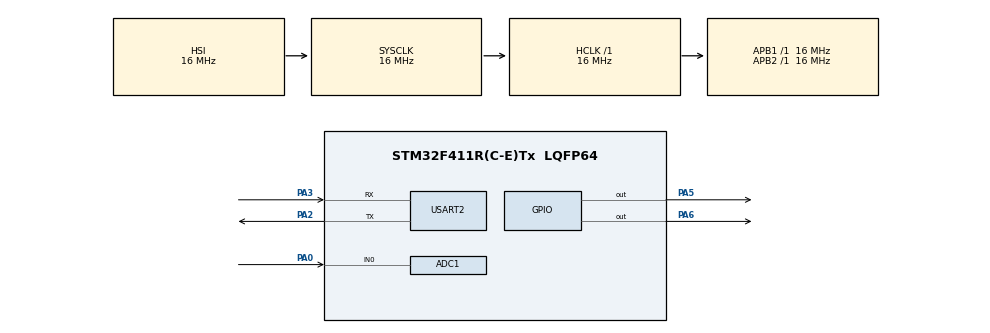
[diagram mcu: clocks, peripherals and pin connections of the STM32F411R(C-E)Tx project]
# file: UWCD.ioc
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ADC1.Channel-0\#ChannelRegularConversion=ADC_CHANNEL_0
ADC1.NbrOfConversionFlag=1
ADC1.Rank-0\#ChannelRegularConversion=1
ADC1.SamplingTime-0\#ChannelRegularConversion=ADC_SAMPLETIME_3CYCLES
ADC1.master=1
Mcu.Family=STM32F4
Mcu.Name=STM32F411R(C-E)Tx
Mcu.Package=LQFP64
NVIC.PriorityGroup=NVIC_PRIORITYGROUP_4
PA0-WKUP.Signal=ADCx_IN0
PA2.Mode=Asynchronous
PA2.Signal=USART2_TX
PA3.Mode=Asynchronous
PA3.Signal=USART2_RX
PA5.Signal=GPIO_Output
PA6.Signal=GPIO_Output
ProjectManager.HeapSize=0x200
ProjectManager.StackSize=0x400
ProjectManager.TargetToolchain=STM32CubeIDE
RCC.48MHZClocksFreq_Value=48000000
RCC.AHBFreq_Value=16000000
RCC.APB1Freq_Value=16000000
RCC.APB2Freq_Value=16000000
RCC.CortexFreq_Value=16000000
RCC.HSE_VALUE=25000000
RCC.HSI_VALUE=16000000
RCC.LSE_VALUE=32768
RCC.SYSCLKFreq_VALUE=16000000
RCC.VCOOutputFreq_Value=192000000
SH.ADCx_IN0.0=ADC1_IN0,IN0
USART2.VirtualMode=VM_ASYNC
board=custom

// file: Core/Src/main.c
/* USER CODE BEGIN Header */
/**
  ******************************************************************************
  * @file           : main.c
  * @brief          : Main program body
  ******************************************************************************
  * @attention
  *
  * Copyright (c) 2025 STMicroelectronics.
  * All rights reserved.
  *
  * This software is licensed under terms that can be found in the LICENSE file
  * in the root directory of this software component.
  * If no LICENSE file comes with this software, it is provided AS-IS.
  *
  ******************************************************************************
  */
/* USER CODE END Header */
#include "main.h"

/* USER CODE BEGIN Includes */
#include <string.h>
#include <stdint.h>
#include "uart_protocol.h"
#include "qpsk_modem.h"
#include "CMD.h"

/* USER CODE END Includes */

/* USER CODE BEGIN PTD */

/*
#define CMD_QPSK_MOD_DEMOD 0x1010
#define CMD_QPSK_RESULT    0x9010
#define CMD_IQ_DATA 0x55AA*/

/* USER CODE END PTD */

ADC_HandleTypeDef hadc1;

UART_HandleTypeDef huart2;

QpskModem modem;
QpskRingBuffer tx_ringbuf, rx_ringbuf;

volatile uint8_t bits_to_send[MAX_BITS];
volatile uint16_t num_bits_to_send = 0;
volatile uint16_t bit_idx = 0;
volatile uint8_t transmitting = 0;

/* USER CODE BEGIN PV */

volatile uint8_t qpsk_symbols[QPSK_MAX_SYMBOLS];
volatile uint16_t qpsk_num_symbols = 0;
volatile uint16_t qpsk_symbol_idx = 0;
volatile uint8_t qpsk_transmitting = 0;

/* USER CODE END PV */

void SystemClock_Config(void);
static void MX_GPIO_Init(void);
static void MX_USART2_UART_Init(void);
static void MX_ADC1_Init(void);

/* USER CODE BEGIN 0 */

void OnFrameReceived(UartProtocol* proto, uint16_t cmd, uint16_t len, uint8_t* payload)
{
    if (cmd == CMD_QPSK_MOD_DEMOD) {
        // Convertir le message reçu en bits
        uint8_t bits[128]; // ajuste si message > 16 caractères
        char temp[64] = {0};

        // Nettoyage \r \n
        uint16_t clean_len = 0;
        for (uint16_t i = 0; i < len; ++i) {
            if (payload[i] != '\r' && payload[i] != '\n') {
                temp[clean_len++] = payload[i];
            }
        }
        temp[clean_len] = '\0'; // null-terminate

        StringToBits(bits, temp);
        memcpy((uint8_t*)qpsk_symbols, bits, clean_len * 8);
        qpsk_num_symbols = clean_len * 8;
        qpsk_symbol_idx = 0;
        qpsk_transmitting = 1;
    }
}
/*
void OnFrameReceived(UartProtocol* proto, uint16_t cmd, uint16_t len, uint8_t* payload)
{
    if (cmd == CMD_QPSK_MOD_DEMOD) {
        QpskRingBuffer_Init(&tx_ringbuf);
        QpskRingBuffer_Init(&rx_ringbuf);
        QpskModem_Modulate(&huart2, &modem, payload, len);
        QpskModem_SymbolsToIQ(&modem);
        QpskModem_GenerateSignal(&modem, &tx_ringbuf, 1.0f);
        Qpsk_SimulateReception(&tx_ringbuf, &rx_ringbuf);

        uint8_t data_out[QPSK_MAX_SYMBOLS/4];
        uint16_t len_out = 0;
        QpskModem_Demodulate(&huart2, &modem, &rx_ringbuf, data_out, &len_out);

        // Prépare les symboles pour la transmission optique
        for (uint16_t i = 0; i < modem.num_symbols; ++i)
            qpsk_symbols[i] = modem.symbols[i];
        qpsk_num_symbols = modem.num_symbols;
        qpsk_symbol_idx = 0;
        qpsk_transmitting = 1; // Drapeau pour démarrer la transmission optique

        UartProtocol_SendFrame(&huart2, CMD_QPSK_RESULT, len_out, data_out);
    }
}*/

/* USER CODE END 0 */

int main(void)
{

  /* USER CODE BEGIN 1 */
	UartProtocol proto;
  /* USER CODE END 1 */

  /* MCU Configuration--------------------------------------------------------*/

  /* Reset of all peripherals, Initializes the Flash interface and the Systick. */
  HAL_Init();

  /* Configure the system clock */
  SystemClock_Config();

  /* Initialize all configured peripherals */
  MX_GPIO_Init();
  MX_USART2_UART_Init();
  MX_ADC1_Init();
  /* USER CODE BEGIN 2 */
  UartProtocol_Init(&proto, OnFrameReceived);

  QpskModem_Init(&modem, 16, 40000.0f, 640000.0f);
  /* USER CODE END 2 */

  /* Infinite loop */
  /* USER CODE BEGIN WHILE */
  uint8_t c;

  uint32_t last_symbol_tick = 0;
  const uint32_t symbol_duration_ms = 50; // Ajuste selon la caméra 100 de base

  void send_led_preamble(uint32_t symbol_duration_ms) {
      // Ex : 8 symboles alternés
      for (int i = 0; i < 8; ++i) {
          uint8_t left = (i % 2 == 0) ? 1 : 0;
          uint8_t right = (i % 2 == 1) ? 1 : 0;
          HAL_GPIO_WritePin(GPIOA, GPIO_PIN_5, left ? GPIO_PIN_SET : GPIO_PIN_RESET);   // LED_A
          HAL_GPIO_WritePin(GPIOA, GPIO_PIN_6, right ? GPIO_PIN_SET : GPIO_PIN_RESET);  // LED_B
          HAL_Delay(symbol_duration_ms); // ou utilise ton timer pour la précision
      }
      // Éteindre les LEDs à la fin du préambule
      HAL_GPIO_WritePin(GPIOA, GPIO_PIN_5, GPIO_PIN_RESET);
      HAL_GPIO_WritePin(GPIOA, GPIO_PIN_6, GPIO_PIN_RESET);
  }

  void send_led_preamble2(uint32_t symbol_duration_ms) {
      // Allumer les deux LEDs pendant 8 symboles
      HAL_GPIO_WritePin(GPIOA, GPIO_PIN_5, GPIO_PIN_SET);   // LED_A
      HAL_GPIO_WritePin(GPIOA, GPIO_PIN_6, GPIO_PIN_SET);   // LED_B

      HAL_Delay(8 * symbol_duration_ms); // Préambule stable

      // Éteindre les LEDs à la fin du préambule
      HAL_GPIO_WritePin(GPIOA, GPIO_PIN_5, GPIO_PIN_RESET);
      HAL_GPIO_WritePin(GPIOA, GPIO_PIN_6, GPIO_PIN_RESET);
  }

  while (1)
  {
      if (HAL_UART_Receive(&huart2, &c, 1, 10) == HAL_OK) {
          UartProtocol_ParseByte(&proto, c);
      }
      // Transmission optique avec pattern LED custom
      if (qpsk_transmitting) {
    	  qpsk_transmitting = 0;  // fin de transmission
          send_led_preamble2(symbol_duration_ms);  // préambule standard
          SendBitsAsPatterns((uint8_t*)qpsk_symbols, qpsk_num_symbols,symbol_duration_ms);  // appel propre
      }
  }

  /* USER CODE END 3 */
}

void SystemClock_Config(void)
{
  RCC_OscInitTypeDef RCC_OscInitStruct = {0};
  RCC_ClkInitTypeDef RCC_ClkInitStruct = {0};

  /** Configure the main internal regulator output voltage
  */
  __HAL_RCC_PWR_CLK_ENABLE();
  __HAL_PWR_VOLTAGESCALING_CONFIG(PWR_REGULATOR_VOLTAGE_SCALE1);

  /** Initializes the RCC Oscillators according to the specified parameters
  * in the RCC_OscInitTypeDef structure.
  */
  RCC_OscInitStruct.OscillatorType = RCC_OSCILLATORTYPE_HSI;
  RCC_OscInitStruct.HSIState = RCC_HSI_ON;
  RCC_OscInitStruct.HSICalibrationValue = RCC_HSICALIBRATION_DEFAULT;
  RCC_OscInitStruct.PLL.PLLState = RCC_PLL_NONE;
  if (HAL_RCC_OscConfig(&RCC_OscInitStruct) != HAL_OK)
  {
    Error_Handler();
  }

  /** Initializes the CPU, AHB and APB buses clocks
  */
  RCC_ClkInitStruct.ClockType = RCC_CLOCKTYPE_HCLK|RCC_CLOCKTYPE_SYSCLK
                              |RCC_CLOCKTYPE_PCLK1|RCC_CLOCKTYPE_PCLK2;
  RCC_ClkInitStruct.SYSCLKSource = RCC_SYSCLKSOURCE_HSI;
  RCC_ClkInitStruct.AHBCLKDivider = RCC_SYSCLK_DIV1;
  RCC_ClkInitStruct.APB1CLKDivider = RCC_HCLK_DIV1;
  RCC_ClkInitStruct.APB2CLKDivider = RCC_HCLK_DIV1;

  if (HAL_RCC_ClockConfig(&RCC_ClkInitStruct, FLASH_LATENCY_0) != HAL_OK)
  {
    Error_Handler();
  }
}

static void MX_ADC1_Init(void)
{

  ADC_ChannelConfTypeDef sConfig = {0};

  /** Configure the global features of the ADC (Clock, Resolution, Data Alignment and number of conversion)
  */
  hadc1.Instance = ADC1;
  hadc1.Init.ClockPrescaler = ADC_CLOCK_SYNC_PCLK_DIV2;
  hadc1.Init.Resolution = ADC_RESOLUTION_12B;
  hadc1.Init.ScanConvMode = DISABLE;
  hadc1.Init.ContinuousConvMode = DISABLE;
  hadc1.Init.DiscontinuousConvMode = DISABLE;
  hadc1.Init.ExternalTrigConvEdge = ADC_EXTERNALTRIGCONVEDGE_NONE;
  hadc1.Init.ExternalTrigConv = ADC_SOFTWARE_START;
  hadc1.Init.DataAlign = ADC_DATAALIGN_RIGHT;
  hadc1.Init.NbrOfConversion = 1;
  hadc1.Init.DMAContinuousRequests = DISABLE;
  hadc1.Init.EOCSelection = ADC_EOC_SINGLE_CONV;
  if (HAL_ADC_Init(&hadc1) != HAL_OK)
  {
    Error_Handler();
  }

  /** Configure for the selected ADC regular channel its corresponding rank in the sequencer and its sample time.
  */
  sConfig.Channel = ADC_CHANNEL_0;
  sConfig.Rank = 1;
  sConfig.SamplingTime = ADC_SAMPLETIME_3CYCLES;
  if (HAL_ADC_ConfigChannel(&hadc1, &sConfig) != HAL_OK)
  {
    Error_Handler();
  }

}

static void MX_USART2_UART_Init(void)
{

  huart2.Instance = USART2;
  huart2.Init.BaudRate = 115200;
  huart2.Init.WordLength = UART_WORDLENGTH_8B;
  huart2.Init.StopBits = UART_STOPBITS_1;
  huart2.Init.Parity = UART_PARITY_NONE;
  huart2.Init.Mode = UART_MODE_TX_RX;
  huart2.Init.HwFlowCtl = UART_HWCONTROL_NONE;
  huart2.Init.OverSampling = UART_OVERSAMPLING_16;
  if (HAL_UART_Init(&huart2) != HAL_OK)
  {
    Error_Handler();
  }

}

static void MX_GPIO_Init(void)
{
  /* USER CODE BEGIN MX_GPIO_Init_1 */
	GPIO_InitTypeDef GPIO_InitStruct = {0};
	__HAL_RCC_GPIOA_CLK_ENABLE();
	GPIO_InitStruct.Pin = GPIO_PIN_5;
	GPIO_InitStruct.Mode = GPIO_MODE_OUTPUT_PP;
	GPIO_InitStruct.Pull = GPIO_NOPULL;
	GPIO_InitStruct.Speed = GPIO_SPEED_FREQ_LOW;
	HAL_GPIO_Init(GPIOA, &GPIO_InitStruct);

	GPIO_InitStruct.Pin = GPIO_PIN_6;
	HAL_GPIO_Init(GPIOA, &GPIO_InitStruct);
  /* USER CODE END MX_GPIO_Init_1 */

  /* GPIO Ports Clock Enable */
  __HAL_RCC_GPIOA_CLK_ENABLE();

}

void Error_Handler(void)
{
  __disable_irq();
  while (1)
  {
  }
}
